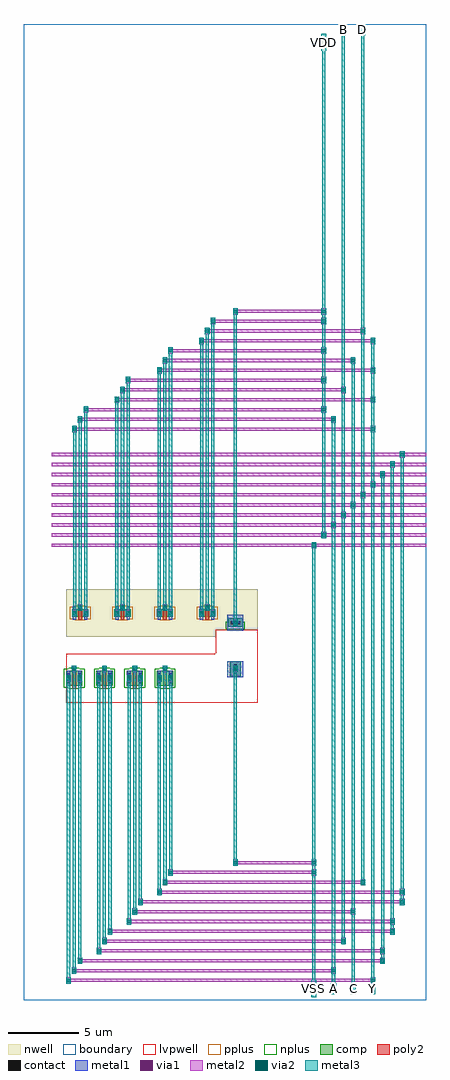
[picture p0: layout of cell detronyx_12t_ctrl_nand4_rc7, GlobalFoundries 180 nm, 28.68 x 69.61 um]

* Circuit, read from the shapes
.subckt detronyx_12t_ctrl_nand4_rc7 A B C D VDD VSS Y
XM1 n1 A Y VSS nfet_03v3 w=1.055u l=0.28u
XM2 n2 B n1 VSS nfet_03v3 w=1.055u l=0.28u
XM3 n3 C n2 VSS nfet_03v3 w=1.055u l=0.28u
XM4 VSS D n3 VSS nfet_03v3 w=1.055u l=0.28u
XM5 VDD A Y VDD pfet_03v3 w=0.56u l=0.2779u
XM6 VDD B Y VDD pfet_03v3 w=0.56u l=0.2779u
XM7 VDD C Y VDD pfet_03v3 w=0.56u l=0.2779u
XM8 VDD D Y VDD pfet_03v3 w=0.56u l=0.2779u
.ends

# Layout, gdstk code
import gdstk
lib = gdstk.Library(unit=1e-6, precision=1e-09)
def R(c, l, rs):  # rectangles x0, y0, x1, y1
    for r in rs: c.add(gdstk.rectangle(r[:2], r[2:], *l))
def A(c, l, x, y, w, h, nx, ny, dx, dy):  # array of equal rectangles
    R(c, l, [(x+i*dx, y+j*dy, x+i*dx+w, y+j*dy+h) for i in range(nx) for j in range(ny)])
boundary = (0, 0)
nwell = (21, 0)
comp = (22, 0)
poly2 = (30, 0)
pplus = (31, 0)
nplus = (32, 0)
contact = (33, 0)
metal1 = (34, 0)
via1 = (35, 0)
metal2 = (36, 0)
via2 = (38, 0)
metal3 = (42, 0)
lvpwell = (204, 0)

detronyx_12t_ctrl_nand4_ = lib.new_cell('detronyx_12t_ctrl_nand4_rc7')
R(detronyx_12t_ctrl_nand4_, boundary, [(0,0,28.68,69.615)])
R(detronyx_12t_ctrl_nand4_, nwell, [(3,25.895,13.68,26.4), (3,26.4,16.68,29.315)])
A(detronyx_12t_ctrl_nand4_, comp, 3, 22.42, 1.16, 1.055, 4, 1, 2.16, 0)
A(detronyx_12t_ctrl_nand4_, comp, 3.43, 27.325, 1.16, 0.555, 4, 1, 3.02, 0)
R(detronyx_12t_ctrl_nand4_, comp, [(14.705,23.075,15.455,24.125), (14.555,26.615,15.605,27.215), (3.43,27.88,3.895,27.885), (4.125,27.88,4.59,27.885), (6.45,27.88,6.915,27.885), (7.145,27.88,7.61,27.885), (9.47,27.88,9.935,27.885), (10.165,27.88,10.63,27.885), (12.49,27.88,12.955,27.885), (13.185,27.88,13.65,27.885)])
A(detronyx_12t_ctrl_nand4_, poly2, 3.44, 22.2, 0.28, 1.55, 4, 1, 2.16, 0)
A(detronyx_12t_ctrl_nand4_, poly2, 3.87, 27.105, 0.28, 1.04, 4, 1, 3.02, 0)
A(detronyx_12t_ctrl_nand4_, pplus, 3.64, 27.095, 0.74, 0.07, 4, 2, 3.02, 0.95)
A(detronyx_12t_ctrl_nand4_, pplus, 3.27, 27.165, 1.48, 0.88, 4, 1, 3.02, 0)
R(detronyx_12t_ctrl_nand4_, pplus, [(14.685,23.055,15.475,24.145)])
A(detronyx_12t_ctrl_nand4_, nplus, 3.21, 22.19, 0.74, 0.07, 4, 2, 2.16, 1.445)
A(detronyx_12t_ctrl_nand4_, nplus, 2.84, 22.26, 1.48, 1.375, 4, 1, 2.16, 0)
R(detronyx_12t_ctrl_nand4_, nplus, [(14.395,26.455,15.765,26.99), (14.535,26.99,15.625,27.235)])
A(detronyx_12t_ctrl_nand4_, contact, 3.47, 23.49, 0.22, 0.22, 4, 1, 2.16, 0)
A(detronyx_12t_ctrl_nand4_, contact, 3.9, 27.885, 0.22, 0.22, 4, 1, 3.02, 0)
R(detronyx_12t_ctrl_nand4_, contact, [(3.07,22.6,3.29,22.82), (3.87,22.6,4.09,22.82), (5.23,22.6,5.45,22.82), (6.03,22.6,6.25,22.82), (7.39,22.6,7.61,22.82), (8.19,22.6,8.41,22.82), (9.55,22.6,9.77,22.82), (10.35,22.6,10.57,22.82), (3.07,23.07,3.29,23.29), (3.87,23.07,4.09,23.29), (5.23,23.07,5.45,23.29), (6.03,23.07,6.25,23.29), (7.39,23.07,7.61,23.29), (8.19,23.07,8.41,23.29), (9.55,23.07,9.77,23.29), (10.35,23.07,10.57,23.29), (14.97,23.255,15.19,23.475), (14.97,23.725,15.19,23.945), (14.735,26.805,14.955,27.025), (15.205,26.805,15.425,27.025), (3.5,27.495,3.72,27.715), (4.3,27.495,4.52,27.715), (6.52,27.495,6.74,27.715), (7.32,27.495,7.54,27.715), (9.54,27.495,9.76,27.715), (10.34,27.495,10.56,27.715), (12.56,27.495,12.78,27.715), (13.36,27.495,13.58,27.715)])
A(detronyx_12t_ctrl_nand4_, metal1, 3.42, 23.37, 0.325, 0.46, 4, 1, 2.16, 0)
A(detronyx_12t_ctrl_nand4_, metal1, 3.85, 27.765, 0.325, 0.46, 4, 1, 3.02, 0)
R(detronyx_12t_ctrl_nand4_, metal1, [(3.065,22.42,3.295,22.715), (3.865,22.42,4.095,22.715), (5.225,22.42,5.455,22.715), (6.025,22.42,6.255,22.715), (7.385,22.42,7.615,22.715), (8.185,22.42,8.415,22.715), (9.545,22.42,9.775,22.715), (10.345,22.42,10.575,22.715), (3.02,22.715,3.345,23.175), (3.82,22.715,4.145,23.175), (5.18,22.715,5.505,23.175), (5.98,22.715,6.305,23.175), (7.34,22.715,7.665,23.175), (8.14,22.715,8.465,23.175), (9.5,22.715,9.825,23.175), (10.3,22.715,10.625,23.175), (14.505,23.025,15.655,24.175), (3.065,23.175,3.295,23.475), (3.865,23.175,4.095,23.475), (5.225,23.175,5.455,23.475), (6.025,23.175,6.255,23.475), (7.385,23.175,7.615,23.475), (8.185,23.175,8.415,23.475), (9.545,23.175,9.775,23.475), (10.345,23.175,10.575,23.475), (14.505,26.34,15.655,27.49), (3.495,27.13,3.725,27.375), (4.295,27.13,4.525,27.375), (6.515,27.13,6.745,27.375), (7.315,27.13,7.545,27.375), (9.535,27.13,9.765,27.375), (10.335,27.13,10.565,27.375), (12.555,27.13,12.785,27.375), (13.355,27.13,13.585,27.375), (3.45,27.375,3.775,27.835), (4.25,27.375,4.575,27.835), (6.47,27.375,6.795,27.835), (7.27,27.375,7.595,27.835), (9.49,27.375,9.815,27.835), (10.29,27.375,10.615,27.835), (12.51,27.375,12.835,27.835), (13.31,27.375,13.635,27.835), (3.495,27.835,3.725,28.08), (4.295,27.835,4.525,28.08), (6.515,27.835,6.745,28.08), (7.315,27.835,7.545,28.08), (9.535,27.835,9.765,28.08), (10.335,27.835,10.565,28.08), (12.555,27.835,12.785,28.08), (13.355,27.835,13.585,28.08)])
A(detronyx_12t_ctrl_nand4_, via1, 3.45, 23.47, 0.26, 0.26, 4, 1, 2.16, 0)
A(detronyx_12t_ctrl_nand4_, via1, 3.88, 27.865, 0.26, 0.26, 4, 1, 3.02, 0)
R(detronyx_12t_ctrl_nand4_, via1, [(3.05,22.815,3.31,23.075), (3.85,22.815,4.11,23.075), (5.21,22.815,5.47,23.075), (6.01,22.815,6.27,23.075), (7.37,22.815,7.63,23.075), (8.17,22.815,8.43,23.075), (9.53,22.815,9.79,23.075), (10.33,22.815,10.59,23.075), (14.95,23.47,15.21,23.73), (14.95,26.785,15.21,27.045), (3.48,27.475,3.74,27.735), (4.28,27.475,4.54,27.735), (6.5,27.475,6.76,27.735), (7.3,27.475,7.56,27.735), (9.52,27.475,9.78,27.735), (10.32,27.475,10.58,27.735), (12.54,27.475,12.8,27.735), (13.34,27.475,13.6,27.735)])
A(detronyx_12t_ctrl_nand4_, metal2, 3.42, 23.37, 0.325, 0.46, 4, 1, 2.16, 0)
A(detronyx_12t_ctrl_nand4_, metal2, 3.85, 27.765, 0.325, 0.46, 4, 1, 3.02, 0)
A(detronyx_12t_ctrl_nand4_, metal2, 2, 32.315, 26.68, 0.24, 1, 10, 0, 0.72)
R(detronyx_12t_ctrl_nand4_, metal2, [(3.02,1.17,3.345,1.29), (24.72,1.17,25.045,1.29), (3.02,1.29,25.045,1.51), (3.02,1.51,3.345,1.63), (24.72,1.51,25.045,1.63), (3.42,1.87,3.745,1.99), (21.92,1.87,22.245,1.99), (3.42,1.99,22.245,2.21), (3.42,2.21,3.745,2.33), (21.92,2.21,22.245,2.33), (3.82,2.57,4.145,2.69), (25.42,2.57,25.745,2.69), (3.82,2.69,25.745,2.91), (3.82,2.91,4.145,3.03), (25.42,2.91,25.745,3.03), (5.18,3.27,5.505,3.39), (25.42,3.27,25.745,3.39), (5.18,3.39,25.745,3.61), (5.18,3.61,5.505,3.73), (25.42,3.61,25.745,3.73), (5.58,3.97,5.905,4.09), (22.62,3.97,22.945,4.09), (5.58,4.09,22.945,4.31), (5.58,4.31,5.905,4.43), (22.62,4.31,22.945,4.43), (5.98,4.67,6.305,4.79), (26.12,4.67,26.445,4.79), (5.98,4.79,26.445,5.01), (5.98,5.01,6.305,5.13), (26.12,5.01,26.445,5.13), (7.34,5.37,7.665,5.49), (26.12,5.37,26.445,5.49), (7.34,5.49,26.445,5.71), (7.34,5.71,7.665,5.83), (26.12,5.71,26.445,5.83), (7.74,6.07,8.065,6.19), (23.32,6.07,23.645,6.19), (7.74,6.19,23.645,6.41), (7.74,6.41,8.065,6.53), (23.32,6.41,23.645,6.53), (8.14,6.77,8.465,6.89), (26.82,6.77,27.145,6.89), (8.14,6.89,27.145,7.11), (8.14,7.11,8.465,7.23), (26.82,7.11,27.145,7.23), (9.5,7.47,9.825,7.59), (26.82,7.47,27.145,7.59), (9.5,7.59,27.145,7.81), (9.5,7.81,9.825,7.93), (26.82,7.81,27.145,7.93), (9.9,8.17,10.225,8.29), (24.02,8.17,24.345,8.29), (9.9,8.29,24.345,8.51), (9.9,8.51,10.225,8.63), (24.02,8.51,24.345,8.63), (10.3,8.87,10.625,8.99), (20.52,8.87,20.845,8.99), (10.3,8.99,20.845,9.21), (10.3,9.21,10.625,9.33), (20.52,9.21,20.845,9.33), (14.92,9.57,15.245,9.69), (20.52,9.57,20.845,9.69), (14.92,9.69,20.845,9.91), (14.92,9.91,15.245,10.03), (20.52,9.91,20.845,10.03), (3.02,22.715,3.345,23.175), (3.82,22.715,4.145,23.175), (5.18,22.715,5.505,23.175), (5.98,22.715,6.305,23.175), (7.34,22.715,7.665,23.175), (8.14,22.715,8.465,23.175), (9.5,22.715,9.825,23.175), (10.3,22.715,10.625,23.175), (14.92,23.37,15.245,23.83), (14.92,26.685,15.245,27.145), (3.45,27.375,3.775,27.835), (4.25,27.375,4.575,27.835), (6.47,27.375,6.795,27.835), (7.27,27.375,7.595,27.835), (9.49,27.375,9.815,27.835), (10.29,27.375,10.615,27.835), (12.51,27.375,12.835,27.835), (13.31,27.375,13.635,27.835), (20.52,32.205,20.845,32.315), (20.52,32.555,20.845,32.665), (21.22,32.925,21.545,33.035), (21.22,33.275,21.545,33.385), (21.92,33.645,22.245,33.755), (21.92,33.995,22.245,34.105), (22.62,34.365,22.945,34.475), (22.62,34.715,22.945,34.825), (23.32,35.085,23.645,35.195), (23.32,35.435,23.645,35.545), (24.02,35.805,24.345,35.915), (24.02,36.155,24.345,36.265), (24.72,36.525,25.045,36.635), (24.72,36.875,25.045,36.985), (25.42,37.245,25.745,37.355), (25.42,37.595,25.745,37.705), (26.12,37.965,26.445,38.075), (26.12,38.315,26.445,38.425), (26.82,38.685,27.145,38.795), (26.82,39.035,27.145,39.145), (3.45,40.485,3.775,40.605), (24.72,40.485,25.045,40.605), (3.45,40.605,25.045,40.825), (3.45,40.825,3.775,40.945), (24.72,40.825,25.045,40.945), (3.85,41.185,4.175,41.305), (21.92,41.185,22.245,41.305), (3.85,41.305,22.245,41.525), (3.85,41.525,4.175,41.645), (21.92,41.525,22.245,41.645), (4.25,41.885,4.575,42.005), (21.22,41.885,21.545,42.005), (4.25,42.005,21.545,42.225), (4.25,42.225,4.575,42.345), (21.22,42.225,21.545,42.345), (6.47,42.585,6.795,42.705), (24.72,42.585,25.045,42.705), (6.47,42.705,25.045,42.925), (6.47,42.925,6.795,43.045), (24.72,42.925,25.045,43.045), (6.87,43.285,7.195,43.405), (22.62,43.285,22.945,43.405), (6.87,43.405,22.945,43.625), (6.87,43.625,7.195,43.745), (22.62,43.625,22.945,43.745), (7.27,43.985,7.595,44.105), (21.22,43.985,21.545,44.105), (7.27,44.105,21.545,44.325), (7.27,44.325,7.595,44.445), (21.22,44.325,21.545,44.445), (9.49,44.685,9.815,44.805), (24.72,44.685,25.045,44.805), (9.49,44.805,25.045,45.025), (9.49,45.025,9.815,45.145), (24.72,45.025,25.045,45.145), (9.89,45.385,10.215,45.505), (23.32,45.385,23.645,45.505), (9.89,45.505,23.645,45.725), (9.89,45.725,10.215,45.845), (23.32,45.725,23.645,45.845), (10.29,46.085,10.615,46.205), (21.22,46.085,21.545,46.205), (10.29,46.205,21.545,46.425), (10.29,46.425,10.615,46.545), (21.22,46.425,21.545,46.545), (12.51,46.785,12.835,46.905), (24.72,46.785,25.045,46.905), (12.51,46.905,25.045,47.125), (12.51,47.125,12.835,47.245), (24.72,47.125,25.045,47.245), (12.91,47.485,13.235,47.605), (24.02,47.485,24.345,47.605), (12.91,47.605,24.345,47.825), (12.91,47.825,13.235,47.945), (24.02,47.825,24.345,47.945), (13.31,48.185,13.635,48.305), (21.22,48.185,21.545,48.305), (13.31,48.305,21.545,48.525), (13.31,48.525,13.635,48.645), (21.22,48.525,21.545,48.645), (14.92,48.885,15.245,49.005), (21.22,48.885,21.545,49.005), (14.92,49.005,21.545,49.225), (14.92,49.225,15.245,49.345), (21.22,49.225,21.545,49.345)])
A(detronyx_12t_ctrl_nand4_, via2, 3.45, 23.47, 0.26, 0.26, 4, 1, 2.16, 0)
A(detronyx_12t_ctrl_nand4_, via2, 3.88, 27.865, 0.26, 0.26, 4, 1, 3.02, 0)
A(detronyx_12t_ctrl_nand4_, via2, 24.75, 40.585, 0.26, 0.26, 1, 4, 0, 2.1)
A(detronyx_12t_ctrl_nand4_, via2, 21.25, 41.985, 0.26, 0.26, 1, 4, 0, 2.1)
R(detronyx_12t_ctrl_nand4_, via2, [(3.05,1.27,3.31,1.53), (24.75,1.27,25.01,1.53), (3.45,1.97,3.71,2.23), (21.95,1.97,22.21,2.23), (3.85,2.67,4.11,2.93), (25.45,2.67,25.71,2.93), (5.21,3.37,5.47,3.63), (25.45,3.37,25.71,3.63), (5.61,4.07,5.87,4.33), (22.65,4.07,22.91,4.33), (6.01,4.77,6.27,5.03), (26.15,4.77,26.41,5.03), (7.37,5.47,7.63,5.73), (26.15,5.47,26.41,5.73), (7.77,6.17,8.03,6.43), (23.35,6.17,23.61,6.43), (8.17,6.87,8.43,7.13), (26.85,6.87,27.11,7.13), (9.53,7.57,9.79,7.83), (26.85,7.57,27.11,7.83), (9.93,8.27,10.19,8.53), (24.05,8.27,24.31,8.53), (10.33,8.97,10.59,9.23), (20.55,8.97,20.81,9.23), (14.95,9.67,15.21,9.93), (20.55,9.67,20.81,9.93), (3.05,22.815,3.31,23.075), (3.85,22.815,4.11,23.075), (5.21,22.815,5.47,23.075), (6.01,22.815,6.27,23.075), (7.37,22.815,7.63,23.075), (8.17,22.815,8.43,23.075), (9.53,22.815,9.79,23.075), (10.33,22.815,10.59,23.075), (14.95,23.47,15.21,23.73), (14.95,26.785,15.21,27.045), (3.48,27.475,3.74,27.735), (4.28,27.475,4.54,27.735), (6.5,27.475,6.76,27.735), (7.3,27.475,7.56,27.735), (9.52,27.475,9.78,27.735), (10.32,27.475,10.58,27.735), (12.54,27.475,12.8,27.735), (13.34,27.475,13.6,27.735), (20.55,32.305,20.81,32.565), (21.25,33.025,21.51,33.285), (21.95,33.745,22.21,34.005), (22.65,34.465,22.91,34.725), (23.35,35.185,23.61,35.445), (24.05,35.905,24.31,36.165), (24.75,36.625,25.01,36.885), (25.45,37.345,25.71,37.605), (26.15,38.065,26.41,38.325), (26.85,38.785,27.11,39.045), (3.48,40.585,3.74,40.845), (3.88,41.285,4.14,41.545), (21.95,41.285,22.21,41.545), (4.28,41.985,4.54,42.245), (6.5,42.685,6.76,42.945), (6.9,43.385,7.16,43.645), (22.65,43.385,22.91,43.645), (7.3,44.085,7.56,44.345), (9.52,44.785,9.78,45.045), (9.92,45.485,10.18,45.745), (23.35,45.485,23.61,45.745), (10.32,46.185,10.58,46.445), (12.54,46.885,12.8,47.145), (12.94,47.585,13.2,47.845), (24.05,47.585,24.31,47.845), (13.34,48.285,13.6,48.545), (14.95,48.985,15.21,49.245), (21.25,48.985,21.51,49.245)])
A(detronyx_12t_ctrl_nand4_, metal3, 21.9, 0.4, 0.36, 0.8, 3, 1, 1.4, 0)
A(detronyx_12t_ctrl_nand4_, metal3, 3.42, 23.37, 0.325, 0.46, 4, 1, 2.16, 0)
A(detronyx_12t_ctrl_nand4_, metal3, 3.85, 27.765, 0.325, 0.46, 4, 1, 3.02, 0)
A(detronyx_12t_ctrl_nand4_, metal3, 24.72, 40.485, 0.325, 0.46, 1, 4, 0, 2.1)
A(detronyx_12t_ctrl_nand4_, metal3, 24.77, 40.945, 0.22, 1.64, 1, 3, 0, 2.1)
A(detronyx_12t_ctrl_nand4_, metal3, 21.22, 41.885, 0.325, 0.46, 1, 4, 0, 2.1)
A(detronyx_12t_ctrl_nand4_, metal3, 21.27, 42.345, 0.22, 1.64, 1, 3, 0, 2.1)
R(detronyx_12t_ctrl_nand4_, metal3, [(20.5,0.2,20.86,1.4), (3.02,1.17,3.345,1.63), (21.97,1.2,22.19,1.87), (23.37,1.2,23.59,6.07), (24.72,1.2,25.045,1.63), (20.57,1.4,20.79,8.87), (3.07,1.63,3.29,22.715), (24.77,1.63,24.99,36.525), (3.42,1.87,3.745,2.33), (21.92,1.87,22.245,2.33), (3.47,2.33,3.69,23.37), (21.97,2.33,22.19,33.645), (3.82,2.57,4.145,3.03), (25.42,2.57,25.745,3.03), (3.87,3.03,4.09,22.715), (25.47,3.03,25.69,3.27), (5.18,3.27,5.505,3.73), (25.42,3.27,25.745,3.73), (5.23,3.73,5.45,22.715), (25.47,3.73,25.69,37.245), (5.58,3.97,5.905,4.43), (22.62,3.97,22.945,4.43), (5.63,4.43,5.85,23.37), (22.67,4.43,22.89,34.365), (5.98,4.67,6.305,5.13), (26.12,4.67,26.445,5.13), (6.03,5.13,6.25,22.715), (26.17,5.13,26.39,5.37), (7.34,5.37,7.665,5.83), (26.12,5.37,26.445,5.83), (7.39,5.83,7.61,22.715), (26.17,5.83,26.39,37.965), (7.74,6.07,8.065,6.53), (23.32,6.07,23.645,6.53), (7.79,6.53,8.01,23.37), (23.37,6.53,23.59,35.085), (8.14,6.77,8.465,7.23), (26.82,6.77,27.145,7.23), (8.19,7.23,8.41,22.715), (26.87,7.23,27.09,7.47), (9.5,7.47,9.825,7.93), (26.82,7.47,27.145,7.93), (9.55,7.93,9.77,22.715), (26.87,7.93,27.09,38.685), (9.9,8.17,10.225,8.63), (24.02,8.17,24.345,8.63), (9.95,8.63,10.17,23.37), (24.07,8.63,24.29,35.805), (10.3,8.87,10.625,9.33), (20.52,8.87,20.845,9.33), (10.35,9.33,10.57,22.715), (20.57,9.33,20.79,9.57), (14.92,9.57,15.245,10.03), (20.52,9.57,20.845,10.03), (14.97,10.03,15.19,23.37), (20.57,10.03,20.79,32.205), (3.02,22.715,3.345,23.175), (3.82,22.715,4.145,23.175), (5.18,22.715,5.505,23.175), (5.98,22.715,6.305,23.175), (7.34,22.715,7.665,23.175), (8.14,22.715,8.465,23.175), (9.5,22.715,9.825,23.175), (10.3,22.715,10.625,23.175), (14.92,23.37,15.245,23.83), (14.92,26.685,15.245,27.145), (14.97,27.145,15.19,48.885), (3.45,27.375,3.775,27.835), (4.25,27.375,4.575,27.835), (6.47,27.375,6.795,27.835), (7.27,27.375,7.595,27.835), (9.49,27.375,9.815,27.835), (10.29,27.375,10.615,27.835), (12.51,27.375,12.835,27.835), (13.31,27.375,13.635,27.835), (3.5,27.835,3.72,40.485), (4.3,27.835,4.52,41.885), (6.52,27.835,6.74,42.585), (7.32,27.835,7.54,43.985), (9.54,27.835,9.76,44.685), (10.34,27.835,10.56,46.085), (12.56,27.835,12.78,46.785), (13.36,27.835,13.58,48.185), (3.9,28.225,4.12,41.185), (6.92,28.225,7.14,43.285), (9.94,28.225,10.16,45.385), (12.96,28.225,13.18,47.485), (20.52,32.205,20.845,32.665), (21.22,32.925,21.545,33.385), (21.27,33.385,21.49,41.885), (21.92,33.645,22.245,34.105), (21.97,34.105,22.19,41.185), (22.62,34.365,22.945,34.825), (22.67,34.825,22.89,43.285), (23.32,35.085,23.645,35.545), (23.37,35.545,23.59,45.385), (24.02,35.805,24.345,36.265), (24.07,36.265,24.29,47.485), (24.72,36.525,25.045,36.985), (24.77,36.985,24.99,40.485), (25.42,37.245,25.745,37.705), (26.12,37.965,26.445,38.425), (26.82,38.685,27.145,39.145), (3.45,40.485,3.775,40.945), (3.85,41.185,4.175,41.645), (21.92,41.185,22.245,41.645), (4.25,41.885,4.575,42.345), (6.47,42.585,6.795,43.045), (6.87,43.285,7.195,43.745), (22.62,43.285,22.945,43.745), (22.67,43.745,22.89,68.815), (7.27,43.985,7.595,44.445), (9.49,44.685,9.815,45.145), (9.89,45.385,10.215,45.845), (23.32,45.385,23.645,45.845), (10.29,46.085,10.615,46.545), (12.51,46.785,12.835,47.245), (12.91,47.485,13.235,47.945), (24.02,47.485,24.345,47.945), (24.07,47.945,24.29,68.815), (13.31,48.185,13.635,48.645), (21.27,48.645,21.49,48.885), (14.92,48.885,15.245,49.345), (21.22,48.885,21.545,49.345), (21.27,49.345,21.49,67.715), (21.2,67.715,21.56,68.915), (22.6,68.815,22.96,69.615), (24,68.815,24.36,69.615)])
R(detronyx_12t_ctrl_nand4_, lvpwell, [(3,21.2,16.68,24.695), (13.68,24.695,16.68,26.4)])
detronyx_12t_ctrl_nand4_.add(gdstk.Label('VDD', (21.38,68.315), layer=42, texttype=10))
detronyx_12t_ctrl_nand4_.add(gdstk.Label('VSS', (20.68,0.8), layer=42, texttype=10))
detronyx_12t_ctrl_nand4_.add(gdstk.Label('A', (22.08,0.8), layer=42, texttype=10))
detronyx_12t_ctrl_nand4_.add(gdstk.Label('B', (22.78,69.215), layer=42, texttype=10))
detronyx_12t_ctrl_nand4_.add(gdstk.Label('C', (23.48,0.8), layer=42, texttype=10))
detronyx_12t_ctrl_nand4_.add(gdstk.Label('D', (24.18,69.215), layer=42, texttype=10))
detronyx_12t_ctrl_nand4_.add(gdstk.Label('Y', (24.88,0.8), layer=42, texttype=10))

lib.write_gds('detronyx_12t_ctrl_nand4_rc7.gds')
